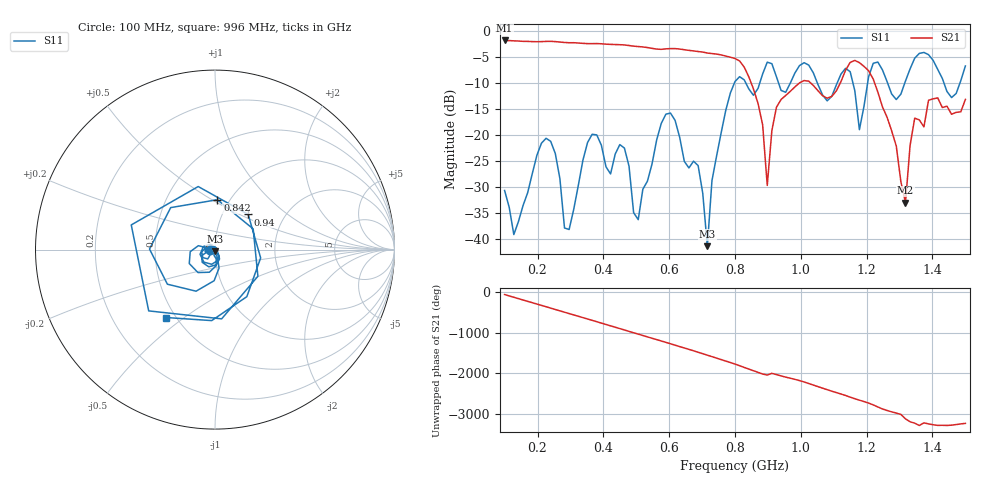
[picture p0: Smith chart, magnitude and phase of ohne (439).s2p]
! NanoVNA-App
! Date: 2025-09-25 14:24:13
! Start: 100MHz Stop: 1,5GHz Points: 101
! S-Parameter data: F S11 S21 S12 S22
# Hz S RI R 50
!  Frequency  S11_Real  S11_Imag  S21_Real  S21_Imag  S12_Real  S12_Imag  S22_Real  S22_Imag
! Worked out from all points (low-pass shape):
!   101 points, 100 MHz to 1.5 GHz, reference 50 ohm
!   highest |S21| = -1.79 dB at 100 MHz (marker M1); lowest = -33.0 dB at 1.318 GHz (marker M2)
!   |S21| within 3 dB of the highest: start of sweep to 772.1 MHz
!   lowest |S11| = -41.3 dB at 716 MHz (marker M3), VSWR 1.02, Z = 49.8 - j0.838 ohm
!   |S11| at or under -10 dB: start of sweep to 798 MHz; 833.1 MHz to 875.1 MHz (42.01 MHz wide, 4.92 % of centre); 1.05 GHz to 1.11 GHz (59.83 MHz wide, 5.54 % of centre) (the widest 3 of 7)
!   S12 and S22 are empty: the file has one direction only
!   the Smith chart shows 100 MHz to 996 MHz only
!   S11 on the Smith chart (normalised r, x): 100 MHz: 0.94, -0.01; 842 MHz: 0.88, +0.53; 940 MHz: 1.32, +0.56; 996 MHz: 0.44, -0.43
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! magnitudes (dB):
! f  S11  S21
! 100 MHz  -30.6  -1.8
! 128 MHz  -39.1  -1.9
! 226 MHz  -20.6  -2.0
! 296 MHz  -38.1  -2.2
! 338 MHz  -24.8  -2.4
! 464 MHz  -22.5  -2.7
! 506 MHz  -36.2  -3.0
! 576 MHz  -17.7  -3.5
! 688 MHz  -25.8  -3.9
! 716 MHz  -41.3  -4.2
! 800 MHz  -9.7  -5.3
! 842 MHz  -11.1  -8.8
! 898 MHz  -6.0  -29.7
! 940 MHz  -11.4  -13.1
! 996 MHz  -6.6  -10.0
! 1.038 GHz  -8.0  -10.4
! 1.178 GHz  -18.9  -6.1
! 1.22 GHz  -6.2  -9.2
! 1.276 GHz  -12.1  -19.2
! 1.318 GHz  -9.6  -33.0
! 1.346 GHz  -5.2  -16.7
! 1.5 GHz  -6.7  -13.1
